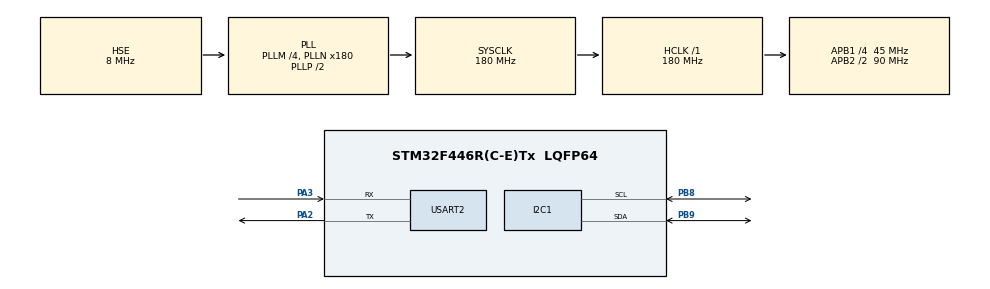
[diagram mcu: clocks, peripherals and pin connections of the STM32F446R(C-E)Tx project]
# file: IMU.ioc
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I2C1.I2C_Mode=I2C_Fast
Mcu.Family=STM32F4
Mcu.Name=STM32F446R(C-E)Tx
Mcu.Package=LQFP64
NVIC.PriorityGroup=NVIC_PRIORITYGROUP_0
PA2.Mode=Asynchronous
PA2.Signal=USART2_TX
PA3.Mode=Asynchronous
PA3.Signal=USART2_RX
PB8.Mode=I2C
PB8.Signal=I2C1_SCL
PB9.Mode=I2C
PB9.Signal=I2C1_SDA
PH0-OSC_IN.Mode=HSE-External-Oscillator
PH0-OSC_IN.Signal=RCC_OSC_IN
PH1-OSC_OUT.Mode=HSE-External-Oscillator
PH1-OSC_OUT.Signal=RCC_OSC_OUT
ProjectManager.HeapSize=0x200
ProjectManager.StackSize=0x400
ProjectManager.TargetToolchain=Makefile
RCC.48MHZClocksFreq_Value=84000000
RCC.AHBFreq_Value=180000000
RCC.APB1CLKDivider=RCC_HCLK_DIV4
RCC.APB1Freq_Value=45000000
RCC.APB1TimFreq_Value=90000000
RCC.APB2CLKDivider=RCC_HCLK_DIV2
RCC.APB2Freq_Value=90000000
RCC.APB2TimFreq_Value=180000000
RCC.CortexFreq_Value=180000000
RCC.FLatency-AdvancedSettings=FLASH_LATENCY_5
RCC.HCLKFreq_Value=180000000
RCC.HSE_VALUE=8000000
RCC.HSI_VALUE=16000000
RCC.PLLM=4
RCC.PLLN=180
RCC.PLLSourceVirtual=RCC_PLLSOURCE_HSE
RCC.SYSCLKFreq_VALUE=180000000
RCC.SYSCLKSource=RCC_SYSCLKSOURCE_PLLCLK
RCC.USBFreq_Value=180000000
RCC.VCOOutputFreq_Value=360000000
USART2.VirtualMode=VM_ASYNC
board=NUCLEO-F446RE

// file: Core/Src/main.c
/* USER CODE BEGIN Header */
/**
  ******************************************************************************
  * @file           : main.c
  * @brief          : Main program body
  ******************************************************************************
  * @attention
  *
  * Copyright (c) 2023 STMicroelectronics.
  * All rights reserved.
  *
  * This software is licensed under terms that can be found in the LICENSE file
  * in the root directory of this software component.
  * If no LICENSE file comes with this software, it is provided AS-IS.
  *
  ******************************************************************************
  */
/* USER CODE END Header */
#include "main.h"

/* USER CODE BEGIN Includes */
#include <stdio.h>
#include <mpu6050.h>
/* USER CODE END Includes */

I2C_HandleTypeDef hi2c1;

UART_HandleTypeDef huart2;

/* USER CODE BEGIN PV */
char Roll_Data[30];
char Pitch_Data[30];
char Yaw_Data[30];

mpu6050_t IMU;

/* USER CODE END PV */

void SystemClock_Config(void);
static void MX_GPIO_Init(void);
static void MX_I2C1_Init(void);
static void MX_USART2_UART_Init(void);

int main(void)
{

  /* MCU Configuration--------------------------------------------------------*/

  /* Reset of all peripherals, Initializes the Flash interface and the Systick. */
  HAL_Init();

  /* Configure the system clock */
  SystemClock_Config();

  /* Initialize all configured peripherals */
  MX_GPIO_Init();
  MX_I2C1_Init();
  MX_USART2_UART_Init();
  /* USER CODE BEGIN 2 */
  MPU6050_Init();

  for(int callib=0; callib < 2000; callib++)
  {
      MPU6050_Read(&IMU);
      IMU.Gx_Callib+=IMU.Gx;
      IMU.Gy_Callib+=IMU.Gy;
      IMU.Gz_Callib+=IMU.Gz;
      HAL_Delay(1);
  }

  IMU.Gx_Callib/=2000;
  IMU.Gy_Callib/=2000;
  IMU.Gz_Callib/=2000;

  /* USER CODE END 2 */

  /* Infinite loop */
  while (1)
  {

    /* USER CODE BEGIN 3 */
    MPU6050_Read(&IMU);

    IMU.Gx -= IMU.Gx_Callib;
    IMU.Gy -= IMU.Gy_Callib;
    IMU.Gz -= IMU.Gz_Callib;

    sprintf(Roll_Data,"Roll: %.2f ",IMU.Roll);
    sprintf(Pitch_Data,"Pitch: %.2f ",IMU.Pitch);
    sprintf(Yaw_Data,"Yaw: %.2f\n",IMU.Gz);

    HAL_UART_Transmit(&huart2, Roll_Data, sizeof(Roll_Data), 100);
    HAL_UART_Transmit(&huart2, Pitch_Data, sizeof(Pitch_Data), 100);
    HAL_Delay(500);
  }
  /* USER CODE END 3 */
}

void SystemClock_Config(void)
{
  RCC_OscInitTypeDef RCC_OscInitStruct = {0};
  RCC_ClkInitTypeDef RCC_ClkInitStruct = {0};

  /** Configure the main internal regulator output voltage
  */
  __HAL_RCC_PWR_CLK_ENABLE();
  __HAL_PWR_VOLTAGESCALING_CONFIG(PWR_REGULATOR_VOLTAGE_SCALE1);

  /** Initializes the RCC Oscillators according to the specified parameters
  * in the RCC_OscInitTypeDef structure.
  */
  RCC_OscInitStruct.OscillatorType = RCC_OSCILLATORTYPE_HSE;
  RCC_OscInitStruct.HSEState = RCC_HSE_ON;
  RCC_OscInitStruct.PLL.PLLState = RCC_PLL_ON;
  RCC_OscInitStruct.PLL.PLLSource = RCC_PLLSOURCE_HSE;
  RCC_OscInitStruct.PLL.PLLM = 4;
  RCC_OscInitStruct.PLL.PLLN = 180;
  RCC_OscInitStruct.PLL.PLLP = RCC_PLLP_DIV2;
  RCC_OscInitStruct.PLL.PLLQ = 2;
  RCC_OscInitStruct.PLL.PLLR = 2;
  if (HAL_RCC_OscConfig(&RCC_OscInitStruct) != HAL_OK)
  {
    Error_Handler();
  }

  /** Activate the Over-Drive mode
  */
  if (HAL_PWREx_EnableOverDrive() != HAL_OK)
  {
    Error_Handler();
  }

  /** Initializes the CPU, AHB and APB buses clocks
  */
  RCC_ClkInitStruct.ClockType = RCC_CLOCKTYPE_HCLK|RCC_CLOCKTYPE_SYSCLK
                              |RCC_CLOCKTYPE_PCLK1|RCC_CLOCKTYPE_PCLK2;
  RCC_ClkInitStruct.SYSCLKSource = RCC_SYSCLKSOURCE_PLLCLK;
  RCC_ClkInitStruct.AHBCLKDivider = RCC_SYSCLK_DIV1;
  RCC_ClkInitStruct.APB1CLKDivider = RCC_HCLK_DIV4;
  RCC_ClkInitStruct.APB2CLKDivider = RCC_HCLK_DIV2;

  if (HAL_RCC_ClockConfig(&RCC_ClkInitStruct, FLASH_LATENCY_5) != HAL_OK)
  {
    Error_Handler();
  }
}

static void MX_I2C1_Init(void)
{

  hi2c1.Instance = I2C1;
  hi2c1.Init.ClockSpeed = 100000;
  hi2c1.Init.DutyCycle = I2C_DUTYCYCLE_2;
  hi2c1.Init.OwnAddress1 = 0;
  hi2c1.Init.AddressingMode = I2C_ADDRESSINGMODE_7BIT;
  hi2c1.Init.DualAddressMode = I2C_DUALADDRESS_DISABLE;
  hi2c1.Init.OwnAddress2 = 0;
  hi2c1.Init.GeneralCallMode = I2C_GENERALCALL_DISABLE;
  hi2c1.Init.NoStretchMode = I2C_NOSTRETCH_DISABLE;
  if (HAL_I2C_Init(&hi2c1) != HAL_OK)
  {
    Error_Handler();
  }

}

static void MX_USART2_UART_Init(void)
{

  huart2.Instance = USART2;
  huart2.Init.BaudRate = 115200;
  huart2.Init.WordLength = UART_WORDLENGTH_8B;
  huart2.Init.StopBits = UART_STOPBITS_1;
  huart2.Init.Parity = UART_PARITY_NONE;
  huart2.Init.Mode = UART_MODE_TX_RX;
  huart2.Init.HwFlowCtl = UART_HWCONTROL_NONE;
  huart2.Init.OverSampling = UART_OVERSAMPLING_16;
  if (HAL_UART_Init(&huart2) != HAL_OK)
  {
    Error_Handler();
  }

}

static void MX_GPIO_Init(void)
{

  /* GPIO Ports Clock Enable */
  __HAL_RCC_GPIOH_CLK_ENABLE();
  __HAL_RCC_GPIOA_CLK_ENABLE();
  __HAL_RCC_GPIOB_CLK_ENABLE();

}

void Error_Handler(void)
{
  __disable_irq();
  while (1)
  {
  }
}
